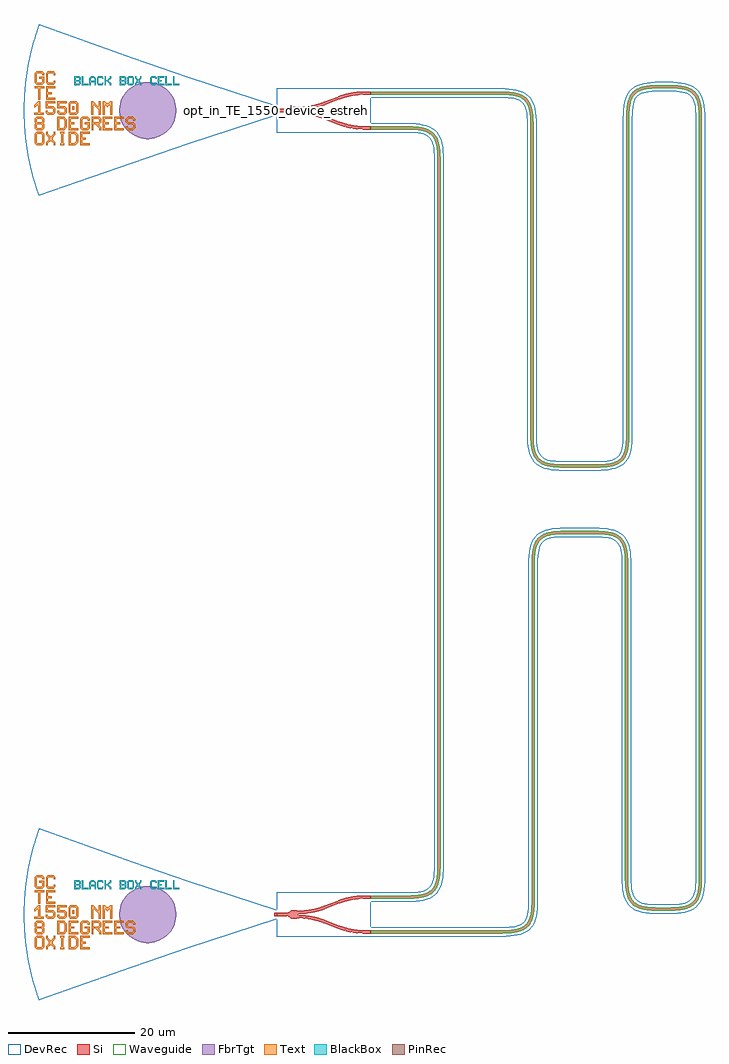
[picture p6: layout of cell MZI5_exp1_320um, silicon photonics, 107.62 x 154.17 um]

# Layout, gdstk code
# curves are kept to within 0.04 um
import gdstk
lib = gdstk.Library(unit=1e-6, precision=1e-09)
def R(c, l, rs):  # rectangles x0, y0, x1, y1
    for r in rs: c.add(gdstk.rectangle(r[:2], r[2:], *l))
def P(c, l, *ps):  # polygons
    for p in ps: c.add(gdstk.Polygon(p, *l))
Si = (1, 0)
PinRec = (1, 10)
Waveguide = (1, 99)
Text = (10, 0)
DevRec = (68, 0)
FbrTgt = (81, 0)
BlackBox = (998, 0)

text = lib.new_cell('TEXT')
P(text, BlackBox, [(13.2,0),(13.2,1.4),(14.2,1.4),(14.2,1.2),(13.4,1.2),(13.4,0.8),(13.8,0.8),(13.8,0.6),(13.4,0.6),(13.4,0.2),(14.2,0.2),(14.2,0)],
  [(9.6,0),(9.6,0.3),(9.9,0.6),(9.9,0.8),(9.6,1.1),(9.6,1.4),(9.8,1.4),(9.8,1.2),(10.1,0.9),(10.4,1.2),(10.4,1.4),(10.6,1.4),(10.6,1.1),(10.3,0.8),(10.3,0.6),(10.6,0.3),(10.6,0),(10.4,0),(10.4,0.2),(10.1,0.5),(9.8,0.2),(9.8,0)],
  [(8.6,0),(8.4,0.2),(8.4,1.2),(8.6,1.4),(9.2,1.4),(9.4,1.2),(9.4,0.7),(9.2,0.7),(9.2,1.1),(9.1,1.2),(8.7,1.2),(8.6,1.1),(8.6,0.3),(8.7,0.2),(9.1,0.2),(9.2,0.3),(9.2,0.7),(9.4,0.7),(9.4,0.2),(9.2,0)],
  [(4.8,0),(4.8,1.4),(5,1.4),(5,0.8),(5.2,0.8),(5.6,1.2),(5.6,1.4),(5.8,1.4),(5.8,1.1),(5.4,0.7),(5.8,0.3),(5.8,0),(5.6,0),(5.6,0.2),(5.2,0.6),(5,0.6),(5,0)],
  [(3.8,0),(3.6,0.2),(3.6,1.2),(3.8,1.4),(4.4,1.4),(4.6,1.2),(4.6,1),(4.4,1),(4.4,1.1),(4.3,1.2),(3.9,1.2),(3.8,1.1),(3.8,0.3),(3.9,0.2),(4.3,0.2),(4.4,0.3),(4.4,0.4),(4.6,0.4),(4.6,0.2),(4.4,0)],
  [(12.2,0),(12,0.2),(12,1.2),(12.2,1.4),(12.8,1.4),(13,1.2),(13,1),(12.8,1),(12.8,1.1),(12.7,1.2),(12.3,1.2),(12.2,1.1),(12.2,0.3),(12.3,0.2),(12.7,0.2),(12.8,0.3),(12.8,0.4),(13,0.4),(13,0.2),(12.8,0)],
  [(2.4,0),(2.4,1.1),(2.7,1.4),(3.1,1.4),(3.3,1.2),(2.8,1.2),(2.6,1),(2.6,0.7),(3.2,0.7),(3.2,1),(3,1.2),(3.3,1.2),(3.4,1.1),(3.4,0),(3.2,0),(3.2,0.5),(2.6,0.5),(2.6,0)],
  [(1.2,0),(1.2,1.4),(1.4,1.4),(1.4,0.2),(2.2,0.2),(2.2,0)],
  [(14.4,0),(14.4,1.4),(14.6,1.4),(14.6,0.2),(15.4,0.2),(15.4,0)],
  [(15.6,0),(15.6,1.4),(15.8,1.4),(15.8,0.2),(16.6,0.2),(16.6,0)],
  [(0,0),(0,1.4),(0.8,1.4),(1,1.2),(0.2,1.2),(0.2,0.8),(0.7,0.8),(0.8,0.9),(0.8,1.1),(0.7,1.2),(1,1.2),(1,0.8),(0.9,0.7),(1,0.6),(0.2,0.6),(0.2,0.2),(0.7,0.2),(0.8,0.3),(0.8,0.5),(0.7,0.6),(1,0.6),(1,0.2),(0.8,0)],
  [(7.2,0),(7.2,1.4),(8,1.4),(8.2,1.2),(7.4,1.2),(7.4,0.8),(7.9,0.8),(8,0.9),(8,1.1),(7.9,1.2),(8.2,1.2),(8.2,0.8),(8.1,0.7),(8.2,0.6),(7.4,0.6),(7.4,0.2),(7.9,0.2),(8,0.3),(8,0.5),(7.9,0.6),(8.2,0.6),(8.2,0.2),(8,0)])

gc_te_1550_8degoxide_bb = lib.new_cell('GC_TE_1550_8degOxide_BB')
R(gc_te_1550_8degoxide_bb, Si, [(-0.4,-0.25,0,0.25)])
R(gc_te_1550_8degoxide_bb, Text, [(-32.313,0.092,-32.013,0.692)])
P(gc_te_1550_8degoxide_bb, Text, [(-30.77,-3.09),(-31.07,-2.79),(-31.07,-1.29),(-30.77,-0.99),(-29.87,-0.99),(-29.57,-1.29),(-29.57,-1.59),(-29.87,-1.59),(-29.87,-1.44),(-30.02,-1.29),(-30.62,-1.29),(-30.77,-1.44),(-30.77,-2.64),(-30.62,-2.79),(-30.02,-2.79),(-29.87,-2.64),(-29.87,-2.19),(-30.32,-2.19),(-30.32,-1.89),(-29.57,-1.89),(-29.57,-2.79),(-29.87,-3.09)],
  [(-37.97,4.11),(-38.27,4.41),(-38.27,5.91),(-37.97,6.21),(-37.07,6.21),(-36.77,5.91),(-36.77,5.61),(-37.07,5.61),(-37.07,5.76),(-37.22,5.91),(-37.82,5.91),(-37.97,5.76),(-37.97,4.56),(-37.82,4.41),(-37.22,4.41),(-37.07,4.56),(-37.07,5.01),(-37.52,5.01),(-37.52,5.31),(-36.77,5.31),(-36.77,4.41),(-37.07,4.11)],
  [(-36.47,-5.49),(-36.47,-5.04),(-36.02,-4.59),(-36.02,-4.29),(-36.47,-3.84),(-36.47,-3.39),(-36.17,-3.39),(-36.17,-3.69),(-35.72,-4.14),(-35.27,-3.69),(-35.27,-3.39),(-34.97,-3.39),(-34.97,-3.84),(-35.42,-4.29),(-35.42,-4.59),(-34.97,-5.04),(-34.97,-5.49),(-35.27,-5.49),(-35.27,-5.19),(-35.72,-4.74),(-36.17,-5.19),(-36.17,-5.49)],
  [(-37.67,1.71),(-37.67,3.51),(-38.27,3.51),(-38.27,3.81),(-36.77,3.81),(-36.77,3.51),(-37.37,3.51),(-37.37,1.71)],
  [(-37.97,-5.49),(-38.27,-5.19),(-38.27,-3.69),(-37.97,-3.39),(-37.07,-3.39),(-36.77,-3.69),(-36.77,-4.44),(-37.07,-4.44),(-37.07,-3.84),(-37.22,-3.69),(-37.82,-3.69),(-37.97,-3.84),(-37.97,-5.04),(-37.82,-5.19),(-37.22,-5.19),(-37.07,-5.04),(-37.07,-4.44),(-36.77,-4.44),(-36.77,-5.19),(-37.07,-5.49)],
  [(-31.07,-5.49),(-31.07,-3.39),(-29.57,-3.39),(-29.57,-3.69),(-30.77,-3.69),(-30.77,-4.29),(-30.17,-4.29),(-30.17,-4.59),(-30.77,-4.59),(-30.77,-5.19),(-29.57,-5.19),(-29.57,-5.49)],
  [(-32.87,-3.09),(-32.87,-0.99),(-31.37,-0.99),(-31.37,-1.29),(-32.57,-1.29),(-32.57,-1.89),(-31.97,-1.89),(-31.97,-2.19),(-32.57,-2.19),(-32.57,-2.79),(-31.37,-2.79),(-31.37,-3.09)],
  [(-27.47,-3.09),(-27.47,-0.99),(-25.97,-0.99),(-25.97,-1.29),(-27.17,-1.29),(-27.17,-1.89),(-26.57,-1.89),(-26.57,-2.19),(-27.17,-2.19),(-27.17,-2.79),(-25.97,-2.79),(-25.97,-3.09)],
  [(-25.67,-3.09),(-25.67,-0.99),(-24.17,-0.99),(-24.17,-1.29),(-25.37,-1.29),(-25.37,-1.89),(-24.77,-1.89),(-24.77,-2.19),(-25.37,-2.19),(-25.37,-2.79),(-24.17,-2.79),(-24.17,-3.09)],
  [(-36.47,1.71),(-36.47,3.81),(-34.97,3.81),(-34.97,3.51),(-36.17,3.51),(-36.17,2.91),(-35.57,2.91),(-35.57,2.61),(-36.17,2.61),(-36.17,2.01),(-34.97,2.01),(-34.97,1.71)],
  [(-29.313,-0.658),(-29.313,1.442),(-29.013,1.442),(-28.263,0.692),(-28.113,0.692),(-28.113,1.442),(-27.813,1.442),(-27.813,-0.658),(-28.113,-0.658),(-28.113,0.092),(-28.863,0.842),(-29.013,0.842),(-29.013,-0.658)],
  [(-34.22,-5.49),(-34.22,-5.19),(-34.07,-5.19),(-34.07,-3.69),(-34.22,-3.69),(-34.22,-3.39),(-33.62,-3.39),(-33.62,-3.69),(-33.77,-3.69),(-33.77,-5.19),(-33.62,-5.19),(-33.62,-5.49)],
  [(-36.17,4.11),(-36.47,4.41),(-36.47,5.91),(-36.17,6.21),(-35.27,6.21),(-34.97,5.91),(-34.97,5.61),(-35.27,5.61),(-35.27,5.76),(-35.42,5.91),(-36.02,5.91),(-36.17,5.76),(-36.17,4.56),(-36.02,4.41),(-35.42,4.41),(-35.27,4.56),(-35.27,4.71),(-34.97,4.71),(-34.97,4.41),(-35.27,4.11)],
  [(-27.513,-0.658),(-27.513,1.442),(-27.213,1.442),(-26.913,1.142),(-26.613,1.142),(-26.313,1.442),(-26.013,1.442),(-26.013,-0.658),(-26.313,-0.658),(-26.313,0.842),(-26.463,0.842),(-26.763,0.542),(-27.063,0.842),(-27.213,0.842),(-27.213,-0.658)],
  [(-29.27,-3.09),(-29.27,-0.99),(-28.07,-0.99),(-27.77,-1.29),(-28.97,-1.29),(-28.97,-1.89),(-28.22,-1.89),(-28.07,-1.74),(-28.07,-1.44),(-28.22,-1.29),(-27.77,-1.29),(-27.77,-1.89),(-28.07,-2.19),(-28.07,-2.34),(-27.77,-2.64),(-27.77,-3.09),(-28.07,-3.09),(-28.07,-2.79),(-28.67,-2.19),(-28.97,-2.19),(-28.97,-3.09)],
  [(-32.613,-0.658),(-32.913,-0.358),(-32.913,1.142),(-32.613,1.442),(-31.713,1.442),(-31.413,1.142),(-32.463,1.142),(-32.613,0.992),(-32.613,-0.208),(-32.463,-0.358),(-31.863,-0.358),(-31.713,-0.208),(-31.713,0.992),(-31.863,1.142),(-31.413,1.142),(-31.413,-0.358),(-31.713,-0.658)],
  [(-37.97,-3.09),(-38.27,-2.79),(-38.27,-2.19),(-38.12,-2.04),(-38.27,-1.89),(-38.27,-1.29),(-37.97,-0.99),(-37.07,-0.99),(-36.77,-1.29),(-37.82,-1.29),(-37.97,-1.44),(-37.97,-1.74),(-37.82,-1.89),(-37.22,-1.89),(-37.07,-1.74),(-37.07,-1.44),(-37.22,-1.29),(-36.77,-1.29),(-36.77,-1.89),(-36.92,-2.04),(-36.77,-2.19),(-37.82,-2.19),(-37.97,-2.34),(-37.97,-2.64),(-37.82,-2.79),(-37.22,-2.79),(-37.07,-2.64),(-37.07,-2.34),(-37.22,-2.19),(-36.77,-2.19),(-36.77,-2.79),(-37.07,-3.09)],
  [(-32.87,-5.49),(-32.87,-3.39),(-31.82,-3.39),(-31.52,-3.69),(-32.57,-3.69),(-32.57,-5.19),(-31.97,-5.19),(-31.67,-4.89),(-31.67,-3.99),(-31.97,-3.69),(-31.52,-3.69),(-31.37,-3.84),(-31.37,-5.04),(-31.82,-5.49)],
  [(-34.67,-3.09),(-34.67,-0.99),(-33.62,-0.99),(-33.32,-1.29),(-34.37,-1.29),(-34.37,-2.79),(-33.77,-2.79),(-33.47,-2.49),(-33.47,-1.59),(-33.77,-1.29),(-33.32,-1.29),(-33.17,-1.44),(-33.17,-2.64),(-33.62,-3.09)],
  [(-36.213,-0.658),(-36.513,-0.358),(-36.513,-0.058),(-36.213,-0.058),(-36.213,-0.208),(-36.063,-0.358),(-35.463,-0.358),(-35.313,-0.208),(-35.313,0.242),(-35.463,0.392),(-36.513,0.392),(-36.513,1.442),(-35.013,1.442),(-35.013,1.142),(-36.213,1.142),(-36.213,0.692),(-35.313,0.692),(-35.013,0.392),(-35.013,-0.358),(-35.313,-0.658)],
  [(-34.413,-0.658),(-34.713,-0.358),(-34.713,-0.058),(-34.413,-0.058),(-34.413,-0.208),(-34.263,-0.358),(-33.663,-0.358),(-33.513,-0.208),(-33.513,0.242),(-33.663,0.392),(-34.713,0.392),(-34.713,1.442),(-33.213,1.442),(-33.213,1.142),(-34.413,1.142),(-34.413,0.692),(-33.513,0.692),(-33.213,0.392),(-33.213,-0.358),(-33.513,-0.658)],
  [(-23.57,-3.09),(-23.87,-2.79),(-23.87,-2.49),(-23.57,-2.49),(-23.57,-2.64),(-23.42,-2.79),(-22.82,-2.79),(-22.67,-2.64),(-22.67,-2.34),(-22.82,-2.19),(-23.57,-2.19),(-23.87,-1.89),(-23.87,-1.29),(-23.57,-0.99),(-22.67,-0.99),(-22.37,-1.29),(-22.37,-1.59),(-22.67,-1.59),(-22.67,-1.44),(-22.82,-1.29),(-23.42,-1.29),(-23.57,-1.44),(-23.57,-1.74),(-23.42,-1.89),(-22.67,-1.89),(-22.37,-2.19),(-22.37,-2.79),(-22.67,-3.09)],
  [(-38.313,-0.658),(-38.313,-0.358),(-37.713,-0.358),(-37.713,0.842),(-37.863,0.842),(-38.163,0.542),(-38.313,0.542),(-38.313,0.842),(-37.713,1.442),(-37.413,1.442),(-37.413,-0.358),(-36.813,-0.358),(-36.813,-0.658)])
P(gc_te_1550_8degoxide_bb, DevRec, [(-37.607,-13.5),(-38.627,-10.245),(-39.378,-6.832),(-39.647,-5.058),(-39.835,-3.274),(-39.969,0.224),(-39.812,3.541),(-39.331,7.097),(-38.557,10.505),(-37.546,13.669),(-22.8,8.353),(-14.109,5.36),(0,0.75),(0,-0.75),(-14.109,-5.36)])
P(gc_te_1550_8degoxide_bb, FbrTgt, [(-20.621,-4.5),(-21.495,-4.37),(-22.326,-4.073),(-23.084,-3.619),(-23.738,-3.026),(-24.264,-2.316),(-24.642,-1.518),(-24.857,-0.661),(-24.9,0.221),(-24.77,1.095),(-24.473,1.926),(-24.019,2.684),(-23.426,3.338),(-22.716,3.864),(-21.918,4.242),(-21.061,4.457),(-20.179,4.5),(-19.305,4.37),(-18.474,4.073),(-17.716,3.619),(-17.062,3.026),(-16.536,2.316),(-16.158,1.518),(-15.943,0.661),(-15.9,-0.221),(-16.03,-1.095),(-16.327,-1.926),(-16.781,-2.684),(-17.374,-3.338),(-18.084,-3.864),(-18.882,-4.242),(-19.739,-4.457)])
gc_te_1550_8degoxide_bb.add(gdstk.FlexPath([(-0.01,0),(0.01,0)], 0.5, ends="flush", simple_path=True, layer=1, datatype=10))  # PinRec
gc_te_1550_8degoxide_bb.add(gdstk.Reference(text, (-32,4)))
gc_te_1550_8degoxide_bb.add(gdstk.Label('opt1', (0,0), layer=1, texttype=10))
gc_te_1550_8degoxide_bb.add(gdstk.Label('Component=GC_TE_1550_8degOxide_BB', (-28,-5), layer=68, texttype=0))
gc_te_1550_8degoxide_bb.add(gdstk.Label('Lumerical_INTERCONNECT_library=Design kits/ebeam', (-29,-7), layer=68, texttype=0))

ebeam_y_1550 = lib.new_cell('ebeam_y_1550')
R(ebeam_y_1550, Si, [(6.5,-3,7.4,-2.5), (-7.4,-0.25,-6,0.25), (6.5,2.5,7.4,3)])
P(ebeam_y_1550, Si, [(6.458,-3),(6.237,-2.997),(6.237,-2.497),(6.5,-2.5),(6.5,-3)],
  [(2.265,-2.21),(0.055,-1.356),(0.235,-0.89),(2.445,-1.744)],
  [(5.033,-2.908),(3.59,-2.634),(2.265,-2.21),(2.445,-1.744),(3.731,-2.154),(5.033,-2.404)],
  [(-0.762,0.555),(-0.762,1.076),(0.055,1.356),(0.235,0.89)],
  [(-5.122,-0.662),(-5.442,-0.374),(-5.808,-0.255),(-6,-0.25),(-6,0.25),(-5.817,0.253),(-5.442,0.374),(-5.122,0.662)],
  [(-4.957,-0.703),(-5.122,-0.662),(-5.122,0.662),(-4.538,0.703),(-4,0.6),(-4,-0.6),(-4.509,-0.701)],
  [(0.055,-1.356),(-0.762,-1.076),(-0.762,-0.555),(0.235,-0.89)],
  [(6.237,2.497),(6.237,2.997),(6.5,3),(6.5,2.5)],
  [(-0.762,-1.076),(-2.334,-0.724),(-4,-0.6),(-4,-0.1),(-2.381,-0.212),(-0.762,-0.555)],
  [(5.033,2.404),(5.033,2.908),(6.237,2.997),(6.237,2.497)],
  [(6.233,-2.997),(5.033,-2.908),(5.033,-2.404),(6.237,-2.497)],
  [(0.235,0.89),(0.055,1.356),(2.265,2.21),(2.445,1.744)],
  [(2.445,1.744),(2.267,2.211),(3.59,2.634),(5.033,2.908),(5.033,2.404),(3.731,2.154)],
  [(-4,0.1),(-4,0.6),(-2.334,0.724),(-0.762,1.076),(-0.762,0.555),(-2.381,0.212)])
R(ebeam_y_1550, DevRec, [(-7.4,-3.5,7.4,3.5)])
ebeam_y_1550.add(gdstk.FlexPath([(7.35,-2.75),(7.45,-2.75)], 0.5, ends="flush", simple_path=True, layer=1, datatype=10))  # PinRec
ebeam_y_1550.add(gdstk.FlexPath([(7.35,2.75),(7.45,2.75)], 0.5, ends="flush", simple_path=True, layer=1, datatype=10))  # PinRec
ebeam_y_1550.add(gdstk.FlexPath([(-7.35,0),(-7.45,0)], 0.5, ends="flush", simple_path=True, layer=1, datatype=10))  # PinRec
ebeam_y_1550.add(gdstk.Label('opt1', (-7.4,0), layer=1, texttype=10))
ebeam_y_1550.add(gdstk.Label('opt3', (7.4,-2.75), layer=1, texttype=10))
ebeam_y_1550.add(gdstk.Label('opt2', (7.4,2.75), layer=1, texttype=10))
ebeam_y_1550.add(gdstk.Label('Lumerical_INTERCONNECT_library=Design kits/ebeam', (-6.86,-2.19), layer=68, texttype=0))
ebeam_y_1550.add(gdstk.Label('Component=ebeam_y_1550', (-6,1.5), layer=68, texttype=0))
ebeam_y_1550.add(gdstk.Label('Ref: Y Zhang, Opt. Express, 21/1, 2013', (-7.5,-1), layer=10, texttype=0))

waveguide_3 = lib.new_cell('Waveguide$3')
P(waveguide_3, Si, [(14.8,2.5),(14.8,3),(21.431,3.017),(22.646,3.137),(23.583,3.389),(24.269,3.784),(24.567,4.082),(24.811,4.446),(25.156,5.408),(25.324,6.728),(25.352,119.25),(25.299,120.635),(25.088,121.862),(24.696,122.743),(24.425,123.073),(24.096,123.343),(23.344,123.696),(22.492,123.887),(21.234,123.99),(14.8,124),(14.8,124.5),(21.652,124.472),(22.733,124.354),(23.635,124.125),(24.374,123.759),(24.869,123.332),(25.25,122.793),(25.568,122),(25.758,121.04),(25.843,119.897),(25.824,6.7),(25.644,5.3),(25.477,4.717),(25.249,4.206),(24.684,3.483),(24.262,3.169),(23.769,2.925),(22.732,2.645),(21.453,2.517)])
P(waveguide_3, Waveguide, [(14.8,2.5),(14.8,3),(21.431,3.017),(22.646,3.137),(23.583,3.389),(24.269,3.784),(24.567,4.082),(24.811,4.446),(25.156,5.408),(25.324,6.728),(25.352,119.25),(25.299,120.635),(25.088,121.862),(24.696,122.743),(24.425,123.073),(24.096,123.343),(23.344,123.696),(22.492,123.887),(21.234,123.99),(14.8,124),(14.8,124.5),(21.652,124.472),(22.733,124.354),(23.635,124.125),(24.374,123.759),(24.869,123.332),(25.25,122.793),(25.568,122),(25.758,121.04),(25.843,119.897),(25.824,6.7),(25.644,5.3),(25.477,4.717),(25.249,4.206),(24.684,3.483),(24.262,3.169),(23.769,2.925),(22.732,2.645),(21.453,2.517)])
P(waveguide_3, DevRec, [(14.8,2),(14.8,3.5),(21.251,3.51),(22.346,3.597),(23.497,3.895),(23.977,4.192),(24.159,4.374),(24.456,4.854),(24.676,5.556),(24.809,6.519),(24.852,7.75),(24.852,119.25),(24.81,120.48),(24.677,121.443),(24.317,122.408),(24.16,122.625),(23.761,122.964),(23.178,123.224),(22.347,123.402),(21.252,123.489),(14.8,123.5),(14.8,125),(21.953,124.953),(23.112,124.79),(24.112,124.472),(24.952,123.947),(25.3,123.599),(25.591,123.2),(26.007,122.277),(26.241,121.202),(26.342,119.951),(26.352,7.75),(26.305,6.399),(26.142,5.24),(26.006,4.722),(25.59,3.799),(24.951,3.052),(24.111,2.527),(23.111,2.209),(21.952,2.046)])
waveguide_3.add(gdstk.FlexPath([(14.81,2.75),(14.79,2.75)], 0.5, ends="flush", simple_path=True, layer=1, datatype=10))  # PinRec
waveguide_3.add(gdstk.FlexPath([(14.81,124.25),(14.79,124.25)], 0.5, ends="flush", simple_path=True, layer=1, datatype=10))  # PinRec
waveguide_3.add(gdstk.Label('opt2', (14.8,124.25), layer=1, texttype=10))
waveguide_3.add(gdstk.Label('opt1', (14.8,2.75), layer=1, texttype=10))
waveguide_3.add(gdstk.Label('Length=140.001 (microns)', (14.8,2.15), layer=68, texttype=0))
waveguide_3.add(gdstk.Label('Spice_param:wg_length=0.000140001 wg_width=5e-07 points="[[14.8,2.75],[25.602,2.75],[25.602,124.25],[14.8,124.25]]" radius=5e-06', (14.8,2.75), layer=68, texttype=0))
waveguide_3.add(gdstk.Label('waveguide_type=Strip TE 1550 nm, w=500 nm', (14.8,2.55), layer=68, texttype=0))
waveguide_3.add(gdstk.Label('cellName=Waveguide', (14.8,2.95), layer=68, texttype=0))
waveguide_3.add(gdstk.Label('Component=ebeam_wg_integral_1550', (14.8,2.85), layer=68, texttype=0))
waveguide_3.add(gdstk.Label('Lumerical_INTERCONNECT_library=Design kits/EBeam', (14.8,2.65), layer=68, texttype=0))

waveguide_12 = lib.new_cell('Waveguide$12')
P(waveguide_12, Si, [(54.769,-143.669),(54.769,-143.169),(75.45,-143.169),(76.836,-143.115),(77.93,-142.94),(78.754,-142.628),(79.347,-142.165),(79.764,-141.512),(79.972,-140.898),(80.088,-140.308),(80.199,-138.636),(80.228,-84.27),(80.319,-83.356),(80.485,-82.569),(80.681,-82.022),(81.018,-81.439),(81.368,-81.053),(81.907,-80.672),(82.557,-80.397),(83.32,-80.215),(85.013,-80.074),(90.2,-80.07),(91.632,-80.126),(92.65,-80.278),(93.623,-80.61),(94.377,-81.143),(94.911,-81.898),(95.243,-82.871),(95.395,-83.889),(95.45,-85.32),(95.452,-135.028),(95.563,-136.701),(95.679,-137.291),(95.887,-137.905),(96.235,-138.479),(96.707,-138.905),(97.336,-139.217),(98.156,-139.424),(99.569,-139.552),(102.296,-139.556),(103.597,-139.47),(104.481,-139.296),(105.069,-139.073),(105.536,-138.776),(105.899,-138.393),(106.182,-137.904),(106.39,-137.29),(106.506,-136.7),(106.618,-134.811),(106.618,-14.9),(106.527,-13.171),(106.422,-12.558),(106.228,-11.918),(105.961,-11.406),(105.535,-10.934),(105.068,-10.637),(104.48,-10.414),(103.074,-10.188),(100.173,-10.152),(98.5,-10.263),(97.91,-10.379),(97.296,-10.587),(96.896,-10.807),(96.493,-11.154),(96.18,-11.597),(95.984,-12.036),(95.73,-13.172),(95.641,-14.683),(95.64,-64.821),(95.599,-66.064),(95.464,-67.114),(95.159,-68.119),(94.656,-68.904),(93.933,-69.469),(92.993,-69.827),(92.18,-69.977),(91.037,-70.062),(84.612,-70.061),(83.469,-69.976),(82.656,-69.826),(81.837,-69.531),(81.276,-69.172),(80.827,-68.701),(80.435,-67.988),(80.217,-67.27),(80.065,-66.252),(80.01,-64.821),(80.008,-15.702),(79.872,-13.874),(79.706,-13.177),(79.522,-12.718),(79.083,-12.096),(78.46,-11.656),(77.601,-11.364),(76.466,-11.207),(54.769,-11.169),(54.769,-10.669),(76.309,-10.696),(77.552,-10.844),(78.557,-11.149),(79.342,-11.652),(79.84,-12.258),(80.084,-12.751),(80.302,-13.469),(80.436,-14.305),(80.505,-15.481),(80.51,-64.821),(80.548,-66.027),(80.675,-67.017),(80.946,-67.914),(81.363,-68.567),(81.956,-69.03),(82.78,-69.342),(83.531,-69.48),(84.628,-69.561),(90.607,-69.57),(91.775,-69.518),(92.731,-69.376),(93.483,-69.135),(94.057,-68.787),(94.483,-68.315),(94.795,-67.686),(94.974,-67.018),(95.101,-66.028),(95.141,-14.679),(95.195,-13.469),(95.347,-12.451),(95.679,-11.478),(96.213,-10.723),(96.846,-10.253),(97.786,-9.895),(99.34,-9.678),(102.305,-9.654),(103.831,-9.768),(104.9,-10.024),(105.528,-10.319),(105.95,-10.633),(106.3,-11.019),(106.578,-11.477),(106.79,-12.006),(106.972,-12.769),(107.113,-14.462),(107.118,-134.811),(107.024,-136.601),(106.744,-137.843),(106.449,-138.471),(106.135,-138.893),(105.749,-139.243),(105.291,-139.521),(104.762,-139.733),(103.999,-139.915),(102.091,-140.059),(98.958,-140.021),(98.07,-139.916),(97.307,-139.734),(96.657,-139.459),(96.118,-139.078),(95.691,-138.583),(95.376,-137.979),(95.069,-136.775),(94.952,-135.034),(94.95,-85.32),(94.912,-84.114),(94.785,-83.124),(94.514,-82.227),(94.097,-81.574),(93.504,-81.111),(92.542,-80.766),(91.586,-80.624),(90.628,-80.575),(85.233,-80.571),(83.891,-80.641),(83.109,-80.765),(82.469,-80.959),(81.957,-81.226),(81.554,-81.573),(81.241,-82.016),(81.004,-82.578),(80.838,-83.275),(80.739,-84.113),(80.699,-138.64),(80.582,-140.382),(80.456,-141.022),(80.22,-141.716),(79.717,-142.501),(78.994,-143.066),(78.054,-143.424),(76.693,-143.628)])
P(waveguide_12, Waveguide, [(54.769,-143.669),(54.769,-143.169),(75.45,-143.169),(76.836,-143.115),(77.93,-142.94),(78.754,-142.628),(79.347,-142.165),(79.764,-141.512),(79.972,-140.898),(80.088,-140.308),(80.199,-138.636),(80.228,-84.27),(80.319,-83.356),(80.485,-82.569),(80.681,-82.022),(81.018,-81.439),(81.368,-81.053),(81.907,-80.672),(82.557,-80.397),(83.32,-80.215),(85.013,-80.074),(90.2,-80.07),(91.632,-80.126),(92.65,-80.278),(93.623,-80.61),(94.377,-81.143),(94.911,-81.898),(95.243,-82.871),(95.395,-83.889),(95.45,-85.32),(95.452,-135.028),(95.563,-136.701),(95.679,-137.291),(95.887,-137.905),(96.235,-138.479),(96.707,-138.905),(97.336,-139.217),(98.156,-139.424),(99.569,-139.552),(102.296,-139.556),(103.597,-139.47),(104.481,-139.296),(105.069,-139.073),(105.536,-138.776),(105.899,-138.393),(106.182,-137.904),(106.39,-137.29),(106.506,-136.7),(106.618,-134.811),(106.618,-14.9),(106.527,-13.171),(106.422,-12.558),(106.228,-11.918),(105.961,-11.406),(105.535,-10.934),(105.068,-10.637),(104.48,-10.414),(103.074,-10.188),(100.173,-10.152),(98.5,-10.263),(97.91,-10.379),(97.296,-10.587),(96.896,-10.807),(96.493,-11.154),(96.18,-11.597),(95.984,-12.036),(95.73,-13.172),(95.641,-14.683),(95.64,-64.821),(95.599,-66.064),(95.464,-67.114),(95.159,-68.119),(94.656,-68.904),(93.933,-69.469),(92.993,-69.827),(92.18,-69.977),(91.037,-70.062),(84.612,-70.061),(83.469,-69.976),(82.656,-69.826),(81.837,-69.531),(81.276,-69.172),(80.827,-68.701),(80.435,-67.988),(80.217,-67.27),(80.065,-66.252),(80.01,-64.821),(80.008,-15.702),(79.872,-13.874),(79.706,-13.177),(79.522,-12.718),(79.083,-12.096),(78.46,-11.656),(77.601,-11.364),(76.466,-11.207),(54.769,-11.169),(54.769,-10.669),(76.309,-10.696),(77.552,-10.844),(78.557,-11.149),(79.342,-11.652),(79.84,-12.258),(80.084,-12.751),(80.302,-13.469),(80.436,-14.305),(80.505,-15.481),(80.51,-64.821),(80.548,-66.027),(80.675,-67.017),(80.946,-67.914),(81.363,-68.567),(81.956,-69.03),(82.78,-69.342),(83.531,-69.48),(84.628,-69.561),(90.607,-69.57),(91.775,-69.518),(92.731,-69.376),(93.483,-69.135),(94.057,-68.787),(94.483,-68.315),(94.795,-67.686),(94.974,-67.018),(95.101,-66.028),(95.141,-14.679),(95.195,-13.469),(95.347,-12.451),(95.679,-11.478),(96.213,-10.723),(96.846,-10.253),(97.786,-9.895),(99.34,-9.678),(102.305,-9.654),(103.831,-9.768),(104.9,-10.024),(105.528,-10.319),(105.95,-10.633),(106.3,-11.019),(106.578,-11.477),(106.79,-12.006),(106.972,-12.769),(107.113,-14.462),(107.118,-134.811),(107.024,-136.601),(106.744,-137.843),(106.449,-138.471),(106.135,-138.893),(105.749,-139.243),(105.291,-139.521),(104.762,-139.733),(103.999,-139.915),(102.091,-140.059),(98.958,-140.021),(98.07,-139.916),(97.307,-139.734),(96.657,-139.459),(96.118,-139.078),(95.691,-138.583),(95.376,-137.979),(95.069,-136.775),(94.952,-135.034),(94.95,-85.32),(94.912,-84.114),(94.785,-83.124),(94.514,-82.227),(94.097,-81.574),(93.504,-81.111),(92.542,-80.766),(91.586,-80.624),(90.628,-80.575),(85.233,-80.571),(83.891,-80.641),(83.109,-80.765),(82.469,-80.959),(81.957,-81.226),(81.554,-81.573),(81.241,-82.016),(81.004,-82.578),(80.838,-83.275),(80.739,-84.113),(80.699,-138.64),(80.582,-140.382),(80.456,-141.022),(80.22,-141.716),(79.717,-142.501),(78.994,-143.066),(78.054,-143.424),(76.693,-143.628)])
P(waveguide_12, DevRec, [(54.769,-144.169),(54.769,-142.669),(75.45,-142.669),(76.681,-142.626),(77.644,-142.493),(78.346,-142.273),(78.826,-141.976),(79.008,-141.794),(79.305,-141.314),(79.603,-140.163),(79.7,-138.419),(79.7,-85.32),(79.747,-83.969),(79.91,-82.81),(80.046,-82.292),(80.462,-81.369),(80.753,-80.97),(81.5,-80.331),(81.941,-80.097),(82.941,-79.779),(84.1,-79.616),(85.449,-79.57),(90.902,-79.581),(92.153,-79.682),(93.228,-79.916),(94.151,-80.332),(94.898,-80.971),(95.423,-81.811),(95.605,-82.293),(95.839,-83.368),(95.95,-85.32),(95.95,-134.811),(95.993,-136.042),(96.126,-137.005),(96.346,-137.707),(96.643,-138.187),(96.825,-138.369),(97.305,-138.666),(98.007,-138.886),(99.551,-139.051),(101.864,-139.061),(103.099,-139.018),(104.062,-138.885),(105.027,-138.525),(105.426,-138.186),(105.723,-137.706),(106.021,-136.555),(106.118,-134.811),(106.118,-14.9),(106.02,-13.155),(105.722,-12.004),(105.425,-11.524),(105.026,-11.185),(104.061,-10.825),(102.517,-10.66),(99.159,-10.693),(98.196,-10.826),(97.231,-11.186),(97.014,-11.343),(96.675,-11.742),(96.315,-12.707),(96.182,-13.67),(96.14,-14.9),(96.14,-64.821),(96.028,-66.774),(95.794,-67.849),(95.378,-68.772),(94.739,-69.519),(93.899,-70.044),(92.899,-70.362),(91.091,-70.561),(84.558,-70.56),(83.307,-70.459),(82.232,-70.225),(81.309,-69.809),(80.91,-69.518),(80.562,-69.17),(80.037,-68.33),(79.719,-67.33),(79.556,-66.171),(79.51,-64.821),(79.51,-15.919),(79.412,-14.174),(79.114,-13.023),(78.817,-12.543),(78.635,-12.361),(78.155,-12.064),(77.453,-11.844),(76.49,-11.711),(54.769,-11.669),(54.769,-10.169),(75.26,-10.169),(76.61,-10.215),(77.769,-10.378),(78.769,-10.696),(79.609,-11.221),(80.248,-11.968),(80.482,-12.409),(80.8,-13.409),(80.999,-15.217),(81.01,-64.821),(81.052,-66.051),(81.185,-67.014),(81.405,-67.716),(81.702,-68.196),(81.884,-68.378),(82.364,-68.675),(83.066,-68.895),(84.61,-69.06),(90.389,-69.071),(92.134,-68.974),(92.965,-68.796),(93.548,-68.536),(93.947,-68.197),(94.244,-67.717),(94.464,-67.015),(94.597,-66.052),(94.64,-64.821),(94.64,-14.9),(94.686,-13.55),(94.849,-12.391),(95.167,-11.391),(95.692,-10.551),(96.439,-9.912),(97.362,-9.496),(98.437,-9.262),(100.386,-9.15),(103.218,-9.196),(104.377,-9.359),(104.895,-9.495),(105.818,-9.911),(106.217,-10.202),(106.856,-10.949),(107.09,-11.39),(107.408,-12.39),(107.607,-14.198),(107.618,-134.811),(107.507,-136.763),(107.273,-137.838),(106.857,-138.761),(106.566,-139.16),(105.819,-139.799),(105.378,-140.033),(104.378,-140.351),(102.57,-140.55),(98.85,-140.515),(97.691,-140.352),(97.173,-140.216),(96.25,-139.8),(95.851,-139.509),(95.503,-139.161),(94.978,-138.321),(94.796,-137.839),(94.562,-136.764),(94.45,-134.811),(94.45,-85.32),(94.408,-84.09),(94.275,-83.127),(94.055,-82.425),(93.758,-81.945),(93.576,-81.763),(93.096,-81.466),(92.394,-81.246),(91.431,-81.113),(90.198,-81.07),(85.451,-81.07),(83.706,-81.167),(82.555,-81.465),(82.075,-81.762),(81.736,-82.161),(81.376,-83.126),(81.211,-84.67),(81.2,-138.419),(81.089,-140.371),(80.855,-141.446),(80.673,-141.928),(80.148,-142.768),(79.401,-143.407),(78.478,-143.823),(77.96,-143.959),(76.801,-144.122),(75.45,-144.169)])
waveguide_12.add(gdstk.FlexPath([(54.779,-143.419),(54.759,-143.419)], 0.5, ends="flush", simple_path=True, layer=1, datatype=10))  # PinRec
waveguide_12.add(gdstk.FlexPath([(54.779,-10.919),(54.759,-10.919)], 0.5, ends="flush", simple_path=True, layer=1, datatype=10))  # PinRec
waveguide_12.add(gdstk.Label('opt2', (54.769,-143.419), layer=1, texttype=10))
waveguide_12.add(gdstk.Label('opt1', (54.769,-10.919), layer=1, texttype=10))
waveguide_12.add(gdstk.Label('Length=460.005 (microns)', (54.769,-11.519), layer=68, texttype=0))
waveguide_12.add(gdstk.Label('waveguide_type=Strip TE 1550 nm, w=500 nm', (54.769,-11.119), layer=68, texttype=0))
waveguide_12.add(gdstk.Label('cellName=Waveguide', (54.769,-10.719), layer=68, texttype=0))
waveguide_12.add(gdstk.Label('Component=ebeam_wg_integral_1550', (54.769,-10.819), layer=68, texttype=0))
waveguide_12.add(gdstk.Label('Lumerical_INTERCONNECT_library=Design kits/EBeam', (54.769,-11.019), layer=68, texttype=0))

mzi5_exp1_320um = lib.new_cell('MZI5_exp1_320um')
mzi5_exp1_320um.add(gdstk.Reference(gc_te_1550_8degoxide_bb, (39.969,-140.669)))
mzi5_exp1_320um.add(gdstk.Reference(gc_te_1550_8degoxide_bb, (39.969,-13.669)))
mzi5_exp1_320um.add(gdstk.Reference(ebeam_y_1550, (47.369,-140.669)))
mzi5_exp1_320um.add(gdstk.Reference(ebeam_y_1550, (47.369,-13.669)))
mzi5_exp1_320um.add(gdstk.Reference(waveguide_3, (39.969,-140.669)))
mzi5_exp1_320um.add(gdstk.Reference(waveguide_12, (0,0)))
mzi5_exp1_320um.add(gdstk.Label('opt_in_TE_1550_device_estrehlo_MZI5', (39.969,-13.669), layer=10, texttype=0))

lib.write_gds('MZI5_exp1_320um.gds')
